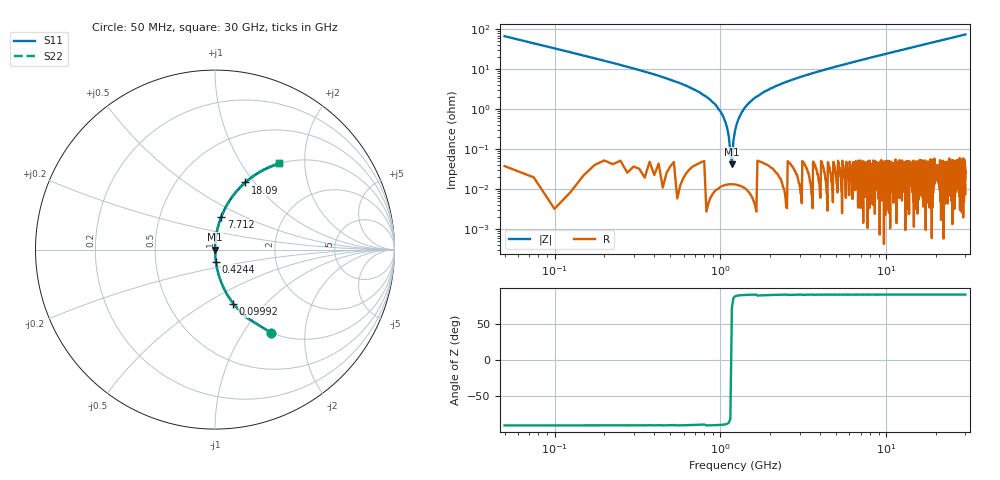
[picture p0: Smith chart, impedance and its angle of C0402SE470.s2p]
!	AVX Thin Film Operation 	Date: April 2014
!	Description: Accu-P® Series, Thin Film  SMD RF Capacitor
!	Part Number: 04023K470FBSTR
# MHZ S MA R 50
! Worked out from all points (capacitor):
!   1201 points, 50 MHz to 30 GHz, reference 50 ohm
!   read as one part in series: C = 47 pF near 199.8 MHz
!   lowest |Z| = 42.4 mohm at 1.173 GHz (marker M1)
!   series resonance near 1.165 GHz, so ESL is about 400 pH
!   S11 on the Smith chart (normalised r, x): 50 MHz: 1.00, -1.35; 99.92 MHz: 1.00, -0.67; 424.4 MHz: 1.00, -0.14; 7.712 GHz: 1.00, +0.38; 18.09 GHz: 1.00, +0.90; 30 GHz: 1.00, +1.50
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50  0.56 -55.9  0.828 34.1  0.828 34.1  0.56 -55.9
99.917  0.319 -71.4  0.948 18.6  0.948 18.6  0.319 -71.4
249.667  0.128 -82.5  0.991 7.4  0.991 7.4  0.128 -82.5
424.375  0.069 -85.8  0.997 4.0  0.997 4.0  0.069 -85.8
848.667  0.019 -88.1  1 1.1  1 1.1  0.019 -88.1
948.5  0.012 -88.0  1 0.7  1 0.7  0.012 -88.0
1048.333  0.006151 -87.1  1 0.4  1 0.4  0.006151 -87.1
1173.125  0.0004847 56.1  1 -0.0  1 -0.0  0.0004847 56.1
1272.958  0.005163 86.7  1 -0.3  1 -0.3  0.005163 86.7
1372.792  0.009583 87.8  1 -0.5  1 -0.5  0.009583 87.8
1522.542  0.016 88.1  1 -0.9  1 -0.9  0.016 88.1
1747.167  0.024 88.0  0.999 -1.4  0.999 -1.4  0.024 88.0
2121.542  0.037 87.5  0.999 -2.1  0.999 -2.1  0.037 87.5
3244.667  0.07 85.7  0.997 -4.0  0.997 -4.0  0.07 85.7
5041.667  0.118 83.1  0.993 -6.8  0.993 -6.8  0.118 83.1
7712.208  0.185 79.3  0.983 -10.6  0.983 -10.6  0.185 79.3
10058.29  0.24 76.0  0.97 -13.9  0.97 -13.9  0.24 76.0
15025  0.349 69.5  0.937 -20.4  0.937 -20.4  0.349 69.5
18094.88  0.41 65.8  0.912 -24.2  0.912 -24.2  0.41 65.8
20016.67  0.445 63.5  0.895 -26.5  0.895 -26.5  0.445 63.5
25033.29  0.529 58.1  0.849 -31.9  0.849 -31.9  0.529 58.1
30000  0.599 53.2  0.801 -36.8  0.801 -36.8  0.599 53.2
